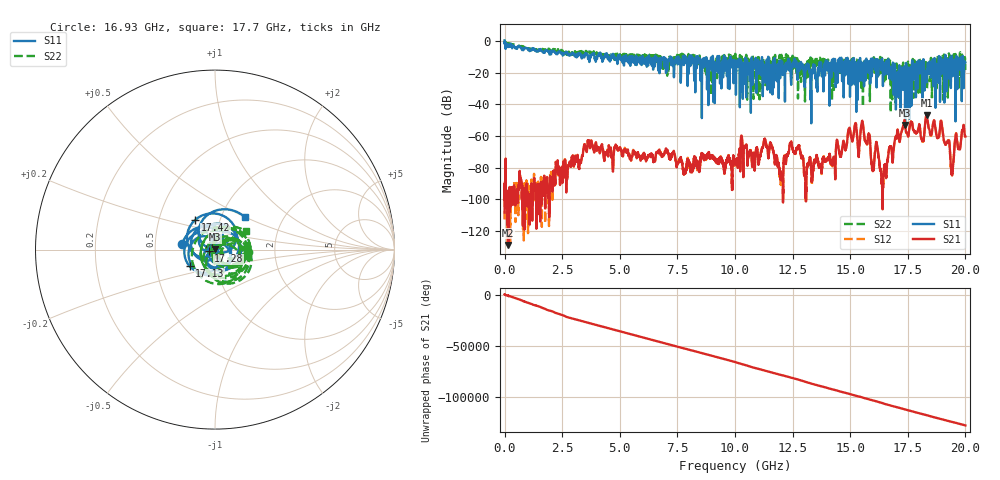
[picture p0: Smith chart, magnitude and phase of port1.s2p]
! MS46122B
! 2250307/22442219
! 2/24/2026 9:12:02 AM
! C:\USERS\SPARKY\DOCUMENTS\VNA_DATA\FEB24_2026\WARM-PORT1-CABLE\PORT1.S2P
! CHANNEL.1
! TR.MEASUREMENT
! RAW.DATA
# GHZ S RI R 50.0
! FREQ.GHZ  S11RE  S11IM  S21RE  S21IM  S12RE  S12IM  S22RE  S22IM
!; PortSelection: Port_12
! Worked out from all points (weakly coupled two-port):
!   10001 points, 1 MHz to 20 GHz, reference 50 ohm
!   highest |S21| = -46.87 dB at 18.32 GHz (marker M1); lowest = -128.9 dB at 159 MHz (marker M2)
!   lowest |S11| = -53.0 dB at 17.38 GHz (marker M3), VSWR 1.00, Z = 50.1 + j0.208 ohm
!   |S11| at or under -10 dB: 6.551 GHz to 7.185 GHz (633.9 MHz wide, 9.23 % of centre); 9.803 GHz to 11.44 GHz (1.636 GHz wide, 15.4 % of centre); 11.45 GHz to 18.85 GHz (7.4 GHz wide, 48.8 % of centre) (the widest 3 of 47)
!   |S22| runs from -45.2 to -0.2 dB; largest |S21 - S12| = 0.0011
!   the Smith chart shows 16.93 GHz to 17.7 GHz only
!   S11 on the Smith chart (normalised r, x): 16.93 GHz: 0.69, +0.04; 17.13 GHz: 0.74, -0.14; 17.28 GHz: 0.93, -0.02; 17.42 GHz: 0.76, +0.26; 17.7 GHz: 1.29, +0.50
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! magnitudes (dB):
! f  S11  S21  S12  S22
! 1 MHz  0.4  -108.3  -112.7  -0.2
! 159 MHz  -3.2  -128.9  -115.9  -1.6
! 3.335 GHz  -9.7  -75.1  -74.9  -6.5
! 6.669 GHz  -18.6  -69.7  -69.5  -13.9
! 10 GHz  -16.5  -75.7  -75.7  -8.7
! 11.3 GHz  -18.5  -61.5  -61.9  -15.5
! 12 GHz  -12.5  -84.5  -85.6  -10.2
! 12.43 GHz  -26.4  -63.8  -64.1  -11.1
! 13.33 GHz  -19.4  -89.0  -88.4  -12.0
! 15.53 GHz  -19.1  -50.4  -50.6  -16.8
! 15.98 GHz  -11.0  -81.2  -80.7  -15.7
! 16.67 GHz  -12.7  -70.4  -70.4  -12.5
! 16.93 GHz  -14.6  -63.0  -63.0  -14.7
! 17.13 GHz  -15.4  -62.8  -62.8  -30.1
! 17.28 GHz  -28.6  -54.5  -54.5  -16.3
! 17.38 GHz  -53.0  -52.7  -52.8  -16.1
! 17.42 GHz  -14.0  -57.5  -57.7  -16.7
! 17.7 GHz  -12.2  -51.8  -51.9  -14.0
! 18.32 GHz  -25.4  -46.9  -47.2  -15.9
! 18.97 GHz  -17.4  -52.1  -52.3  -12.3
! 19.42 GHz  -10.3  -83.7  -84.5  -14.8
! 20 GHz  -13.5  -60.3  -60.8  -18.1
